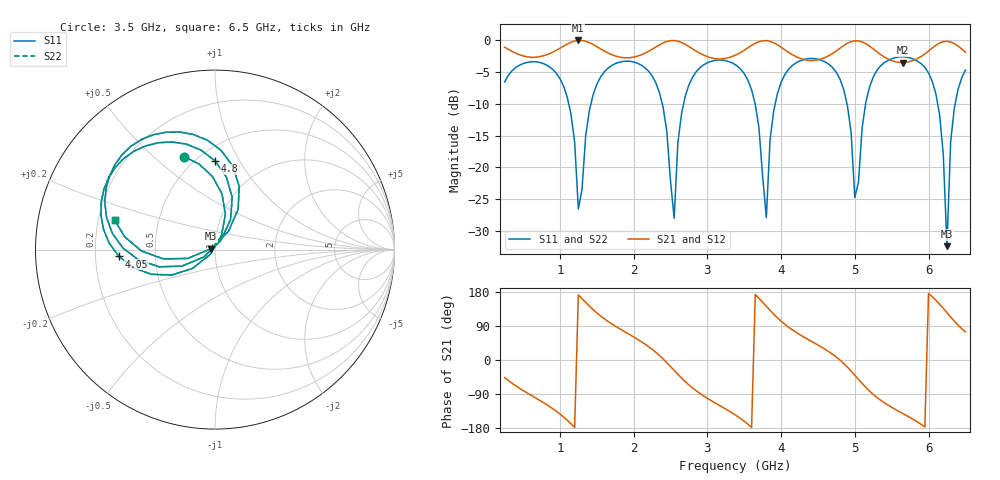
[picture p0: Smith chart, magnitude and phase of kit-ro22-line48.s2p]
! NobuRF kit-ro22-line48: ports 1 "p1", 2 "p2"; 11700 + 11700 steps
# GHz S RI R 50
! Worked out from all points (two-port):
!   126 points, 250 MHz to 6.5 GHz, reference 50 ohm
!   highest |S21| = -0.02 dB at 1.25 GHz (marker M1); lowest = -3.5 dB at 5.65 GHz (marker M2)
!   |S21| within 3 dB of the highest: start of sweep to 4.307 GHz; 4.515 GHz to 5.468 GHz (952.8 MHz wide, 19.1 % of centre)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
!   lowest |S11| = -32.4 dB at 6.25 GHz (marker M3), VSWR 1.05, Z = 47.7 + j0.437 ohm
!   |S11| at or under -10 dB: 1.12 GHz to 1.421 GHz (301.7 MHz wide, 23.8 % of centre); 2.388 GHz to 2.678 GHz (290.1 MHz wide, 11.5 % of centre); 3.648 GHz to 3.921 GHz (272.2 MHz wide, 7.19 % of centre)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
!   |S22| runs from -32.4 to -2.6 dB; largest |S21 - S12| = 1.2e-07
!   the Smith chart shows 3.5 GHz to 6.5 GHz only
!   S11 on the Smith chart (normalised r, x): 3.5 GHz: 0.43, +0.63; 4.05 GHz: 0.30, -0.03; 4.8 GHz: 0.61, +0.80; 6.5 GHz: 0.27, +0.13
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0.25  -0.3397 -0.3256  0.609 -0.639  0.609 -0.639  -0.3397 -0.3256
1  -0.3052 0.3958  -0.6861 -0.5283  -0.6861 -0.5283  -0.3052 0.3958
1.25  0.00485 0.0467  -0.9876 0.1403  -0.9876 0.1403  0.00485 0.0467
1.3  -0.0229 -0.0631  -0.9462 0.3112  -0.9462 0.3112  -0.0229 -0.0631
1.6  -0.5327 -0.1823  -0.2705 0.7792  -0.2705 0.7792  -0.5327 -0.1823
2.35  -0.0803 0.3797  0.9011 0.1908  0.9011 0.1908  -0.0803 0.3797
2.55  -0.0212 -0.0335  0.8845 -0.4586  0.8845 -0.4586  -0.0212 -0.0335
2.75  -0.4068 -0.1818  0.3663 -0.8151  0.3663 -0.8151  -0.4068 -0.1818
3.4  -0.3385 0.5318  -0.6538 -0.4134  -0.6538 -0.4134  -0.3385 0.5318
3.5  -0.174 0.5186  -0.7925 -0.264  -0.7925 -0.264  -0.174 0.5186
3.8  -0.0283 -0.0285  -0.7817 0.6157  -0.7817 0.6157  -0.0283 -0.0285
4.05  -0.5348 -0.0384  -0.0634 0.8398  -0.0634 0.8398  -0.5348 -0.0384
4.45  -0.5082 0.5076  0.49 0.4922  0.49 0.4922  -0.5082 0.5076
4.8  0.00159 0.4931  0.8674 -0.00553  0.8674 -0.00553  0.00159 0.4931
5  0.0313 0.0486  0.7585 -0.6386  0.7585 -0.6386  0.0313 0.0486
5.2  -0.425 -0.0581  0.126 -0.8912  0.126 -0.8912  -0.425 -0.0581
5.5  -0.5884 0.4081  -0.3955 -0.5691  -0.3955 -0.5691  -0.5884 0.4081
5.65  -0.467 0.577  -0.5193 -0.419  -0.5193 -0.419  -0.467 0.577
6.1  0.1346 0.3531  -0.8457 0.3485  -0.8457 0.3485  0.1346 0.3531
6.25  -0.0235 0.00457  -0.5627 0.806  -0.5627 0.806  -0.0235 0.00457
6.3  -0.1518 -0.0493  -0.3887 0.8903  -0.3887 0.8903  -0.1518 -0.0493
6.5  -0.5592 0.1634  0.2163 0.7758  0.2163 0.7758  -0.5592 0.1634
